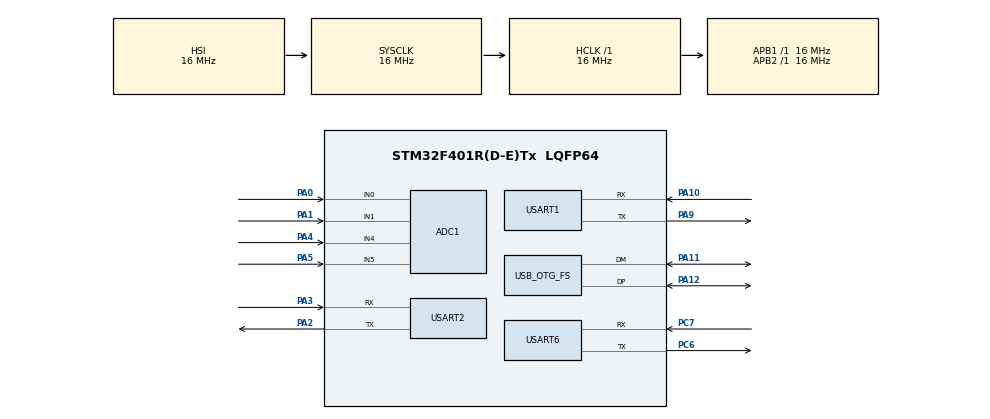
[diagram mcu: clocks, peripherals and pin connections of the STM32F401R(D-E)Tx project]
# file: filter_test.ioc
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ADC1.Channel-0\#ChannelRegularConversion=ADC_CHANNEL_0
ADC1.InjNumberOfConversion=0
ADC1.NbrOfConversionFlag=1
ADC1.Rank-0\#ChannelRegularConversion=1
ADC1.SamplingTime-0\#ChannelRegularConversion=ADC_SAMPLETIME_144CYCLES
ADC1.master=1
Dma.Request0=USART1_RX
Dma.Request1=USART2_RX
Dma.Request2=USART6_RX
Dma.USART1_RX.0.Direction=DMA_PERIPH_TO_MEMORY
Dma.USART1_RX.0.FIFOMode=DMA_FIFOMODE_DISABLE
Dma.USART1_RX.0.Instance=DMA2_Stream2
Dma.USART1_RX.0.MemDataAlignment=DMA_MDATAALIGN_BYTE
Dma.USART1_RX.0.MemInc=DMA_MINC_ENABLE
Dma.USART1_RX.0.Mode=DMA_CIRCULAR
Dma.USART1_RX.0.PeriphDataAlignment=DMA_PDATAALIGN_BYTE
Dma.USART1_RX.0.PeriphInc=DMA_PINC_DISABLE
Dma.USART1_RX.0.Priority=DMA_PRIORITY_LOW
Dma.USART2_RX.1.Direction=DMA_PERIPH_TO_MEMORY
Dma.USART2_RX.1.FIFOMode=DMA_FIFOMODE_DISABLE
Dma.USART2_RX.1.Instance=DMA1_Stream5
Dma.USART2_RX.1.MemDataAlignment=DMA_MDATAALIGN_BYTE
Dma.USART2_RX.1.MemInc=DMA_MINC_ENABLE
Dma.USART2_RX.1.Mode=DMA_CIRCULAR
Dma.USART2_RX.1.PeriphDataAlignment=DMA_PDATAALIGN_BYTE
Dma.USART2_RX.1.PeriphInc=DMA_PINC_DISABLE
Dma.USART2_RX.1.Priority=DMA_PRIORITY_LOW
Dma.USART6_RX.2.Direction=DMA_PERIPH_TO_MEMORY
Dma.USART6_RX.2.FIFOMode=DMA_FIFOMODE_DISABLE
Dma.USART6_RX.2.Instance=DMA2_Stream1
Dma.USART6_RX.2.MemDataAlignment=DMA_MDATAALIGN_BYTE
Dma.USART6_RX.2.MemInc=DMA_MINC_ENABLE
Dma.USART6_RX.2.Mode=DMA_CIRCULAR
Dma.USART6_RX.2.PeriphDataAlignment=DMA_PDATAALIGN_BYTE
Dma.USART6_RX.2.PeriphInc=DMA_PINC_DISABLE
Dma.USART6_RX.2.Priority=DMA_PRIORITY_LOW
Mcu.Family=STM32F4
Mcu.Name=STM32F401R(D-E)Tx
Mcu.Package=LQFP64
NVIC.ADC_IRQn=true\:0\:0\:false\:true\:true\:5\:true\:true\:true
NVIC.DMA1_Stream5_IRQn=true\:0\:0\:false\:false\:true\:false\:true\:true
NVIC.DMA2_Stream1_IRQn=true\:0\:0\:false\:false\:true\:false\:true\:true
NVIC.DMA2_Stream2_IRQn=true\:0\:0\:false\:true\:true\:6\:false\:true\:true
NVIC.OTG_FS_IRQn=true\:0\:0\:false\:true\:true\:7\:false\:true\:true
NVIC.PriorityGroup=NVIC_PRIORITYGROUP_4
NVIC.TIM1_BRK_TIM9_IRQn=true\:0\:0\:false\:true\:true\:1\:true\:true\:true
NVIC.USART1_IRQn=true\:0\:0\:false\:true\:true\:2\:true\:true\:true
NVIC.USART2_IRQn=true\:0\:0\:false\:true\:true\:3\:true\:true\:true
NVIC.USART6_IRQn=true\:0\:0\:false\:true\:true\:4\:true\:true\:true
PA0-WKUP.Signal=ADCx_IN0
PA1.Signal=ADCx_IN1
PA10.Mode=Asynchronous
PA10.Signal=USART1_RX
PA11.Mode=Device_Only
PA11.Signal=USB_OTG_FS_DM
PA12.Mode=Device_Only
PA12.Signal=USB_OTG_FS_DP
PA2.Mode=Asynchronous
PA2.Signal=USART2_TX
PA3.Mode=Asynchronous
PA3.Signal=USART2_RX
PA4.Signal=ADCx_IN4
PA5.Signal=ADCx_IN5
PA9.Mode=Asynchronous
PA9.Signal=USART1_TX
PC6.Mode=Asynchronous
PC6.Signal=USART6_TX
PC7.Mode=Asynchronous
PC7.Signal=USART6_RX
ProjectManager.HeapSize=0x200
ProjectManager.StackSize=0x400
ProjectManager.TargetToolchain=STM32CubeIDE
RCC.AHBFreq_Value=16000000
RCC.APB1Freq_Value=16000000
RCC.APB2Freq_Value=16000000
RCC.CortexFreq_Value=16000000
RCC.HSE_VALUE=25000000
RCC.HSI_VALUE=16000000
RCC.LSE_VALUE=32768
RCC.PLLSource=RCC_PLLSOURCE_HSI
RCC.SYSCLKFreq_VALUE=16000000
RCC.VCOOutputFreq_Value=192000000
SH.ADCx_IN0.0=ADC1_IN0,IN0
SH.ADCx_IN1.0=ADC1_IN1,IN1
SH.ADCx_IN4.0=ADC1_IN4,IN4
SH.ADCx_IN5.0=ADC1_IN5,IN5
TIM9.Period=100-1
TIM9.Prescaler=839
USART1.VirtualMode=VM_ASYNC
USART2.VirtualMode=VM_ASYNC
USART6.VirtualMode=VM_ASYNC
USB_DEVICE.CLASS_NAME_FS=CDC
USB_DEVICE.VirtualMode-CDC_FS=Cdc
USB_DEVICE.VirtualModeFS=Cdc_FS
USB_OTG_FS.VirtualMode=Device_Only
VP_TIM9_VS_ClockSourceINT.Mode=Internal
VP_USB_DEVICE_VS_USB_DEVICE_CDC_FS.Mode=CDC_FS
board=custom

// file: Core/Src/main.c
/* USER CODE BEGIN Header */
/**
  ******************************************************************************
  * @file           : main.c
  * @brief          : Main program body
  ******************************************************************************
  * @attention
  *
  * Copyright (c) 2024 STMicroelectronics.
  * All rights reserved.
  *
  * This software is licensed under terms that can be found in the LICENSE file
  * in the root directory of this software component.
  * If no LICENSE file comes with this software, it is provided AS-IS.
  *
  ******************************************************************************
  */
#include <stdio.h>
/* USER CODE END Header */
#include "main.h"
#include "usb_device.h"

/* USER CODE BEGIN Includes */
volatile uint8_t dma_receive_in_progress = 0;
/* USER CODE END Includes */

/* USER CODE BEGIN PD */
#define NUM_SENSORS 4
#define IMU_DATA_SIZE 55
#define PACKET_SIZE 200
/* USER CODE END PD */

ADC_HandleTypeDef hadc1;

TIM_HandleTypeDef htim9;

UART_HandleTypeDef huart1;
UART_HandleTypeDef huart2;
UART_HandleTypeDef huart6;
DMA_HandleTypeDef hdma_usart1_rx;
DMA_HandleTypeDef hdma_usart2_rx;
DMA_HandleTypeDef hdma_usart6_rx;

/* USER CODE BEGIN PV */
uint32_t sensorValues[NUM_SENSORS];
//uint8_t packetBuffer[PACKET_SIZE];
//nt16_t pressureSensors[4];

uint8_t  IMU1array[IMU_DATA_SIZE];
uint8_t  IMU2array[IMU_DATA_SIZE];
uint8_t  IMU3array[IMU_DATA_SIZE];

char alpha[8] ={0};
char beta[8] ={0};
char gamm[8] ={0};

double roll1, pitch1, yaw1;
double roll2, pitch2, yaw2;
double roll3, pitch3, yaw3;

double alpha_value = 0.2;
double prevSensorValues[4] = {0};

double roll1_prev = 0, pitch1_prev = 0, yaw1_prev = 0;
double roll2_prev = 0, pitch2_prev = 0, yaw2_prev = 0;
double roll3_prev = 0, pitch3_prev = 0, yaw3_prev = 0;

double accelX1 = 0, accelY1 = 0, accelZ1 = 0;
double accelX2 = 0, accelY2 = 0, accelZ2 = 0;
double accelX3 = 0, accelY3 = 0, accelZ3 = 0;

double prevAccelX1 = 0, prevAccelX2 = 0, prevAccelX3 = 0;
double prevAccelY1 = 0, prevAccelY2 = 0, prevAccelY3 = 0;
double prevAccelZ1 = 0, prevAccelZ2 = 0, prevAccelZ3 = 0;

double gyroX1 = 0, gyroY1 = 0, gyroZ1 = 0;
double gyroX2 = 0, gyroY2 = 0, gyroZ2 = 0;
double gyroX3 = 0, gyroY3 = 0, gyroZ3 = 0;

double prevGyroX1 = 0, prevGyroX2 = 0, prevGyroX3 = 0;
double prevGyroY1 = 0, prevGyroY2 = 0, prevGyroY3 = 0;
double prevGyroZ1 = 0, prevGyroZ2 = 0, prevGyroZ3 = 0;

int cnt10 = 0;
int cnt00 = 0, cnt11 = 0;
/* USER CODE END PV */

void SystemClock_Config(void);
static void MX_GPIO_Init(void);
static void MX_DMA_Init(void);
static void MX_ADC1_Init(void);
static void MX_USART1_UART_Init(void);
static void MX_USART2_UART_Init(void);
static void MX_USART6_UART_Init(void);
static void MX_TIM9_Init(void);
static void MX_NVIC_Init(void);
/* USER CODE BEGIN PFP */
void Read_Pressure_Data(void);
void Read_All_IMU_Data(void);
void Get_IMU_Data(UART_HandleTypeDef* huart, char* IMUarray);
double ApplyLowPassFilter(double currentValue, double *prevValue);
void parse_IMU_data(UART_HandleTypeDef* huart, uint8_t* IMUarray, double* roll, double* pitch, double* yaw, double* accelX, double* accelY, double* accelZ, double* gyroX, double* gyroY, double* gyroZ);
/* USER CODE END PFP */

/* USER CODE BEGIN 0 */
void HAL_TIM_PeriodElapsedCallback(TIM_HandleTypeDef *htim){
	if(htim == &htim9){

		Read_Pressure_Data();

        // DMA 수신이 진행 중인 경우 새로운 요청을 시작하지 않음
       // if (dma_receive_in_progress == 0) {
            unsigned char star = '*';
            HAL_UART_Transmit(&huart1, &star, 1, 10); // IMU에 데이터 요청
            // DMA 수신 시작 및 상태 플래그 설정
            if (HAL_UART_Receive_DMA(&huart1, IMU1array, IMU_DATA_SIZE) == HAL_OK) {
                //dma_receive_in_progress = 1;

            } else {
                Error_Handler();
            }
            cnt00++;
       // }
		//SendPacket();
	}
}

void HAL_UART_RxCpltCallback(UART_HandleTypeDef *huart) {

	 if (huart->Instance == USART1) {
		 	 cnt11++;
		 	dma_receive_in_progress = 0;
			parse_IMU_data(&huart1, IMU1array, &roll1, &pitch1, &yaw1, &accelX1, &accelY1, &accelZ1, &gyroX1, &gyroY1, &gyroZ1);

			roll1 = ApplyLowPassFilter(roll1, &roll1_prev);
			pitch1 = ApplyLowPassFilter(pitch1, &pitch1_prev);
			yaw1 = ApplyLowPassFilter(yaw1, &yaw1_prev);

			accelX1 = ApplyLowPassFilter(accelX1, &prevAccelX1);
			accelY1 = ApplyLowPassFilter(accelY1, &prevAccelY1);
			accelZ1 = ApplyLowPassFilter(accelZ1, &prevAccelZ1);

			gyroX1 = ApplyLowPassFilter(gyroX1, &prevGyroX1);
			gyroY1 = ApplyLowPassFilter(gyroY1, &prevGyroY1);
			gyroZ1 = ApplyLowPassFilter(gyroZ1, &prevGyroZ1);

    }
    /*else if (huart->Instance == USART2) {
        // IMU2 데이터 수신 및 파싱
        Get_IMU_Data(&huart2, IMU2array, &roll2, &pitch2, &yaw2, &accelX2, &accelY2, &accelZ2, &gyroX2, &gyroY2, &gyroZ2);
        HAL_UART_Receive_DMA(&huart2, (uint8_t*)IMU2array, IMU_DATA_SIZE); // DMA 수신 재시작
    }
    else if (huart->Instance == USART6) {
        // IMU3 데이터 수신 및 파싱
        Get_IMU_Data(&huart6, IMU3array, &roll3, &pitch3, &yaw3, &accelX3, &accelY3, &accelZ3, &gyroX3, &gyroY3, &gyroZ3);
        HAL_UART_Receive_DMA(&huart6, (uint8_t*)IMU3array, IMU_DATA_SIZE); // DMA 수신 재시작
    }*/

}

/*void HAL_UART_RxCpltCallback(UART_HandleTypeDef *huart) {
    if (huart->Instance == USART1) {
        // 수신 완료 시 데이터 파싱
        Parse_IMU_Data(IMU1array, &roll1, &pitch1, &yaw1, &accelX1, &accelY1, &accelZ1, &gyroX1, &gyroY1, &gyroZ1);
        HAL_UART_Receive_DMA(&huart1, (uint8_t*)IMU1array, IMU_DATA_SIZE); // 재시작
    }
}
*/

/* USER CODE END 0 */

int main(void)
{

  /* MCU Configuration--------------------------------------------------------*/

  /* Reset of all peripherals, Initializes the Flash interface and the Systick. */
  HAL_Init();

  /* Configure the system clock */
  SystemClock_Config();

  /* Initialize all configured peripherals */
  MX_GPIO_Init();
  MX_DMA_Init();
  MX_ADC1_Init();
  MX_USART1_UART_Init();
  MX_USART2_UART_Init();
  MX_USART6_UART_Init();
  MX_USB_DEVICE_Init();
  MX_TIM9_Init();

  /* Initialize interrupts */
  MX_NVIC_Init();
  /* USER CODE BEGIN 2 */
  HAL_TIM_Base_Start_IT(&htim9);
  HAL_UART_Receive_DMA(&huart1, (uint8_t*)IMU1array, IMU_DATA_SIZE);
  HAL_UART_Receive_DMA(&huart2, (uint8_t*)IMU2array, IMU_DATA_SIZE);
  HAL_UART_Receive_DMA(&huart6, (uint8_t*)IMU3array, IMU_DATA_SIZE);

  /* USER CODE END 2 */

  /* Infinite loop */
  while (1)
  {

  }
}

void SystemClock_Config(void)
{
  RCC_OscInitTypeDef RCC_OscInitStruct = {0};
  RCC_ClkInitTypeDef RCC_ClkInitStruct = {0};

  /** Configure the main internal regulator output voltage
  */
  __HAL_RCC_PWR_CLK_ENABLE();
  __HAL_PWR_VOLTAGESCALING_CONFIG(PWR_REGULATOR_VOLTAGE_SCALE2);

  /** Initializes the RCC Oscillators according to the specified parameters
  * in the RCC_OscInitTypeDef structure.
  */
  RCC_OscInitStruct.OscillatorType = RCC_OSCILLATORTYPE_HSI;
  RCC_OscInitStruct.HSIState = RCC_HSI_ON;
  RCC_OscInitStruct.HSICalibrationValue = RCC_HSICALIBRATION_DEFAULT;
  RCC_OscInitStruct.PLL.PLLState = RCC_PLL_ON;
  RCC_OscInitStruct.PLL.PLLSource = RCC_PLLSOURCE_HSI;
  RCC_OscInitStruct.PLL.PLLM = 16;
  RCC_OscInitStruct.PLL.PLLN = 192;
  RCC_OscInitStruct.PLL.PLLP = RCC_PLLP_DIV2;
  RCC_OscInitStruct.PLL.PLLQ = 4;
  if (HAL_RCC_OscConfig(&RCC_OscInitStruct) != HAL_OK)
  {
    Error_Handler();
  }

  /** Initializes the CPU, AHB and APB buses clocks
  */
  RCC_ClkInitStruct.ClockType = RCC_CLOCKTYPE_HCLK|RCC_CLOCKTYPE_SYSCLK
                              |RCC_CLOCKTYPE_PCLK1|RCC_CLOCKTYPE_PCLK2;
  RCC_ClkInitStruct.SYSCLKSource = RCC_SYSCLKSOURCE_HSI;
  RCC_ClkInitStruct.AHBCLKDivider = RCC_SYSCLK_DIV1;
  RCC_ClkInitStruct.APB1CLKDivider = RCC_HCLK_DIV1;
  RCC_ClkInitStruct.APB2CLKDivider = RCC_HCLK_DIV1;

  if (HAL_RCC_ClockConfig(&RCC_ClkInitStruct, FLASH_LATENCY_0) != HAL_OK)
  {
    Error_Handler();
  }
}

/**
  * @brief NVIC Configuration.
  * @retval None
  */
static void MX_NVIC_Init(void)
{
  /* TIM1_BRK_TIM9_IRQn interrupt configuration */
  HAL_NVIC_SetPriority(TIM1_BRK_TIM9_IRQn, 0, 0);
  HAL_NVIC_EnableIRQ(TIM1_BRK_TIM9_IRQn);
  /* USART1_IRQn interrupt configuration */
  HAL_NVIC_SetPriority(USART1_IRQn, 0, 0);
  HAL_NVIC_EnableIRQ(USART1_IRQn);
  /* USART2_IRQn interrupt configuration */
  HAL_NVIC_SetPriority(USART2_IRQn, 0, 0);
  HAL_NVIC_EnableIRQ(USART2_IRQn);
  /* USART6_IRQn interrupt configuration */
  HAL_NVIC_SetPriority(USART6_IRQn, 0, 0);
  HAL_NVIC_EnableIRQ(USART6_IRQn);
  /* ADC_IRQn interrupt configuration */
  HAL_NVIC_SetPriority(ADC_IRQn, 0, 0);
  HAL_NVIC_EnableIRQ(ADC_IRQn);
  /* DMA2_Stream2_IRQn interrupt configuration */
  HAL_NVIC_SetPriority(DMA2_Stream2_IRQn, 0, 0);
  HAL_NVIC_EnableIRQ(DMA2_Stream2_IRQn);
  /* OTG_FS_IRQn interrupt configuration */
  HAL_NVIC_SetPriority(OTG_FS_IRQn, 0, 0);
  HAL_NVIC_EnableIRQ(OTG_FS_IRQn);
}

static void MX_ADC1_Init(void)
{

  ADC_ChannelConfTypeDef sConfig = {0};

  /** Configure the global features of the ADC (Clock, Resolution, Data Alignment and number of conversion)
  */
  hadc1.Instance = ADC1;
  hadc1.Init.ClockPrescaler = ADC_CLOCK_SYNC_PCLK_DIV2;
  hadc1.Init.Resolution = ADC_RESOLUTION_12B;
  hadc1.Init.ScanConvMode = DISABLE;
  hadc1.Init.ContinuousConvMode = DISABLE;
  hadc1.Init.DiscontinuousConvMode = DISABLE;
  hadc1.Init.ExternalTrigConvEdge = ADC_EXTERNALTRIGCONVEDGE_NONE;
  hadc1.Init.ExternalTrigConv = ADC_SOFTWARE_START;
  hadc1.Init.DataAlign = ADC_DATAALIGN_RIGHT;
  hadc1.Init.NbrOfConversion = 1;
  hadc1.Init.DMAContinuousRequests = DISABLE;
  hadc1.Init.EOCSelection = ADC_EOC_SINGLE_CONV;
  if (HAL_ADC_Init(&hadc1) != HAL_OK)
  {
    Error_Handler();
  }

  /** Configure for the selected ADC regular channel its corresponding rank in the sequencer and its sample time.
  */
  sConfig.Channel = ADC_CHANNEL_0;
  sConfig.Rank = 1;
  sConfig.SamplingTime = ADC_SAMPLETIME_144CYCLES;
  if (HAL_ADC_ConfigChannel(&hadc1, &sConfig) != HAL_OK)
  {
    Error_Handler();
  }
  /* USER CODE BEGIN ADC1_Init 2 */
  for(int i=0;i < NUM_SENSORS; i++){
	  sConfig.Channel = ADC_CHANNEL_0 + i;
	  sConfig.Rank = i + 1;
	  sConfig.SamplingTime = ADC_SAMPLETIME_15CYCLES;
	  HAL_ADC_ConfigChannel(&hadc1, &sConfig);
  }
  /* USER CODE END ADC1_Init 2 */

}

static void MX_TIM9_Init(void)
{

  TIM_ClockConfigTypeDef sClockSourceConfig = {0};

  htim9.Instance = TIM9;
  htim9.Init.Prescaler = 8399;
  htim9.Init.CounterMode = TIM_COUNTERMODE_UP;
  htim9.Init.Period = 5000-1;
  htim9.Init.ClockDivision = TIM_CLOCKDIVISION_DIV1;
  htim9.Init.AutoReloadPreload = TIM_AUTORELOAD_PRELOAD_DISABLE;
  if (HAL_TIM_Base_Init(&htim9) != HAL_OK)
  {
    Error_Handler();
  }
  sClockSourceConfig.ClockSource = TIM_CLOCKSOURCE_INTERNAL;
  if (HAL_TIM_ConfigClockSource(&htim9, &sClockSourceConfig) != HAL_OK)
  {
    Error_Handler();
  }

}

static void MX_USART1_UART_Init(void)
{

  huart1.Instance = USART1;
  huart1.Init.BaudRate = 115200;
  huart1.Init.WordLength = UART_WORDLENGTH_8B;
  huart1.Init.StopBits = UART_STOPBITS_1;
  huart1.Init.Parity = UART_PARITY_NONE;
  huart1.Init.Mode = UART_MODE_TX_RX;
  huart1.Init.HwFlowCtl = UART_HWCONTROL_NONE;
  huart1.Init.OverSampling = UART_OVERSAMPLING_16;
  if (HAL_UART_Init(&huart1) != HAL_OK)
  {
    Error_Handler();
  }

}

static void MX_USART2_UART_Init(void)
{

  huart2.Instance = USART2;
  huart2.Init.BaudRate = 115200;
  huart2.Init.WordLength = UART_WORDLENGTH_8B;
  huart2.Init.StopBits = UART_STOPBITS_1;
  huart2.Init.Parity = UART_PARITY_NONE;
  huart2.Init.Mode = UART_MODE_TX_RX;
  huart2.Init.HwFlowCtl = UART_HWCONTROL_NONE;
  huart2.Init.OverSampling = UART_OVERSAMPLING_16;
  if (HAL_UART_Init(&huart2) != HAL_OK)
  {
    Error_Handler();
  }

}

static void MX_USART6_UART_Init(void)
{

  huart6.Instance = USART6;
  huart6.Init.BaudRate = 115200;
  huart6.Init.WordLength = UART_WORDLENGTH_8B;
  huart6.Init.StopBits = UART_STOPBITS_1;
  huart6.Init.Parity = UART_PARITY_NONE;
  huart6.Init.Mode = UART_MODE_TX_RX;
  huart6.Init.HwFlowCtl = UART_HWCONTROL_NONE;
  huart6.Init.OverSampling = UART_OVERSAMPLING_16;
  if (HAL_UART_Init(&huart6) != HAL_OK)
  {
    Error_Handler();
  }

}

static void MX_DMA_Init(void)
{

  /* DMA controller clock enable */
  __HAL_RCC_DMA2_CLK_ENABLE();
  __HAL_RCC_DMA1_CLK_ENABLE();

  /* DMA interrupt init */
  /* DMA1_Stream5_IRQn interrupt configuration */
  HAL_NVIC_SetPriority(DMA1_Stream5_IRQn, 0, 0);
  HAL_NVIC_EnableIRQ(DMA1_Stream5_IRQn);
  /* DMA2_Stream1_IRQn interrupt configuration */
  HAL_NVIC_SetPriority(DMA2_Stream1_IRQn, 0, 0);
  HAL_NVIC_EnableIRQ(DMA2_Stream1_IRQn);

}

static void MX_GPIO_Init(void)
{

  /* GPIO Ports Clock Enable */
  __HAL_RCC_GPIOA_CLK_ENABLE();
  __HAL_RCC_GPIOC_CLK_ENABLE();

}

/* USER CODE BEGIN 4 */
void Read_Pressure_Data(void) {
    ADC_ChannelConfTypeDef sConfig = {0};

    for (int i = 0; i < NUM_SENSORS; i++) {
        // ADC 채널을 각 센서 핀에 맞게 설정 (IN0, IN1, IN4, IN5)
        switch(i) {
            case 0: sConfig.Channel = ADC_CHANNEL_0; break; // IN0
            case 1: sConfig.Channel = ADC_CHANNEL_1; break; // IN1
            case 2: sConfig.Channel = ADC_CHANNEL_4; break; // IN4
            case 3: sConfig.Channel = ADC_CHANNEL_5; break; // IN5
        }

        sConfig.Rank = 1;
        sConfig.SamplingTime = ADC_SAMPLETIME_15CYCLES;
        if (HAL_ADC_ConfigChannel(&hadc1, &sConfig) != HAL_OK) {
            Error_Handler();
        }

        if (HAL_ADC_Start(&hadc1) == HAL_OK) {
            if (HAL_ADC_PollForConversion(&hadc1, HAL_MAX_DELAY) == HAL_OK) {
            	double rawValue = HAL_ADC_GetValue(&hadc1);
            	sensorValues[i] = ApplyLowPassFilter(rawValue, &prevSensorValues[i]);
            } else if (i == 0){
            	sensorValues[0] -= 2000;
            } else {
                Error_Handler();
            }
            HAL_ADC_Stop(&hadc1);
        } else {
            Error_Handler();
        }
    }
}

void parse_IMU_data(UART_HandleTypeDef* huart, uint8_t* IMUarray, double* roll, double* pitch, double* yaw, double* accelX, double* accelY, double* accelZ, double* gyroX, double* gyroY, double* gyroZ){
    int cnt0 = 0, cnt1 = 0, cnt2 = 0, cnt3 = 0, cnt4 = 0, cnt5 = 0, cnt6 = 0;
    char* pos;

	 for (int i = 1; i < IMU_DATA_SIZE; i++) {
			if (IMUarray[i] == ',') {
				if (cnt0 == 0) cnt1 = i + 1;
				else if (cnt0 == 1) cnt2 = i + 1;
				else if (cnt0 == 2) cnt3 = i + 1;
				else if (cnt0 == 3) cnt4 = i + 1;
				else if (cnt0 == 4) cnt5 = i + 1;
				cnt0++;
			} else {
				switch (cnt0) {
					case 0: alpha[i - 1] = IMUarray[i]; break;  // Roll
					case 1: beta[i - cnt1] = IMUarray[i]; break;  // Pitch
					case 2: gamm[i - cnt2] = IMUarray[i]; break;  // Yaw
					case 3: accelX[i - cnt3] = IMUarray[i]; break;  // Accel X
					case 4: accelY[i - cnt4] = IMUarray[i]; break;  // Accel Y
					case 5: accelZ[i - cnt5] = IMUarray[i]; break;  // Accel Z
					case 6: gyroX[i - cnt6] = IMUarray[i]; break;  // Gyro X
				}
			}
			if (IMUarray[i] == '\r') {
				cnt6 = i + 1;
				break;
			}
		}
	    // 문자열이 짧은 경우 0으로 채움
	       for (int j = cnt1 - 2; j < 7; j++) alpha[j] = '0';
	       for (int k = cnt2 - (cnt1); k < 8; k++) beta[k - 1] = '0';
	       for (int l = cnt3 - (cnt2); l < 8; l++) gamm[l - 1] = '0';
	       for (int m = cnt4 - (cnt3); m < 8; m++) accelX[m - 1] = '0';
	       for (int n = cnt5 - (cnt4); n < 8; n++) accelY[n - 1] = '0';
	       for (int o = cnt6 - (cnt5); o < 8; o++) accelZ[o - 1] = '0';

	       // 문자열을 double로 변환
	       *roll = strtod(alpha, &pos);
	       *pitch = strtod(beta, &pos);
	       *yaw = strtod(gamm, &pos);
	       *accelX = strtod(accelX, &pos);
	       *accelY = strtod(accelY, &pos);
	       *accelZ = strtod(accelZ, &pos);
	       *gyroX = strtod(gyroX, &pos);
	       *gyroY = strtod(gyroY, &pos);
	       *gyroZ = strtod(gyroZ, &pos);
}

double ApplyLowPassFilter(double currentValue, double *prevValue){
	*prevValue = alpha_value * currentValue + (1.0 - alpha_value) * (*prevValue);
	return *prevValue;
}

// 패킷 빌드 함수
/*void BuildPacket(void) {
    memset(packetBuffer, 0, PACKET_SIZE);

    // 패킷 시작 신호 (예: 0xA0, 0xA1로 시작)
    packetBuffer[0] = 0xA0;
    packetBuffer[1] = 0xA1;

    // 압력 센서 데이터 추가 (8바이트: 각 센서당 2바이트)
    for (int i = 0; i < 4; i++) {
        packetBuffer[2 + i * 2] = (sensorValues[i] >> 8) & 0xFF;
        packetBuffer[3 + i * 2] = sensorValues[i] & 0xFF;
    }

    // IMU 1 가속도 데이터 추가 (6바이트: 각 축당 2바이트)
    packetBuffer[10] = (int16_t)(accelX1 * 100) >> 8 & 0xFF;
    packetBuffer[11] = (int16_t)(accelX1 * 100) & 0xFF;
    packetBuffer[12] = (int16_t)(accelY1 * 100) >> 8 & 0xFF;
    packetBuffer[13] = (int16_t)(accelY1 * 100) & 0xFF;
    packetBuffer[14] = (int16_t)(accelZ1 * 100) >> 8 & 0xFF;
    packetBuffer[15] = (int16_t)(accelZ1 * 100) & 0xFF;

    // IMU 1 각속도 데이터 추가 (6바이트: 각 축당 2바이트)
    packetBuffer[16] = (int16_t)(gyroX1 * 100) >> 8 & 0xFF;
    packetBuffer[17] = (int16_t)(gyroX1 * 100) & 0xFF;
    packetBuffer[18] = (int16_t)(gyroY1 * 100) >> 8 & 0xFF;
    packetBuffer[19] = (int16_t)(gyroY1 * 100) & 0xFF;
    packetBuffer[20] = (int16_t)(gyroZ1 * 100) >> 8 & 0xFF;
    packetBuffer[21] = (int16_t)(gyroZ1 * 100) & 0xFF;

    // IMU 1 각도 데이터 추가 (6바이트: roll, pitch, yaw 각도당 2바이트)
    packetBuffer[22] = (int16_t)(roll1 * 100) >> 8 & 0xFF;
    packetBuffer[23] = (int16_t)(roll1 * 100) & 0xFF;
    packetBuffer[24] = (int16_t)(pitch1 * 100) >> 8 & 0xFF;
    packetBuffer[25] = (int16_t)(pitch1 * 100) & 0xFF;
    packetBuffer[26] = (int16_t)(yaw1 * 100) >> 8 & 0xFF;
    packetBuffer[27] = (int16_t)(yaw1 * 100) & 0xFF;

    // IMU 2 가속도 데이터 추가 (6바이트)
    packetBuffer[28] = (int16_t)(accelX2 * 100) >> 8 & 0xFF;
    packetBuffer[29] = (int16_t)(accelX2 * 100) & 0xFF;
    packetBuffer[30] = (int16_t)(accelY2 * 100) >> 8 & 0xFF;
    packetBuffer[31] = (int16_t)(accelY2 * 100) & 0xFF;
    packetBuffer[32] = (int16_t)(accelZ2 * 100) >> 8 & 0xFF;
    packetBuffer[33] = (int16_t)(accelZ2 * 100) & 0xFF;

    // IMU 2 각속도 데이터 추가 (6바이트)
    packetBuffer[34] = (int16_t)(gyroX2 * 100) >> 8 & 0xFF;
    packetBuffer[35] = (int16_t)(gyroX2 * 100) & 0xFF;
    packetBuffer[36] = (int16_t)(gyroY2 * 100) >> 8 & 0xFF;
    packetBuffer[37] = (int16_t)(gyroY2 * 100) & 0xFF;
    packetBuffer[38] = (int16_t)(gyroZ2 * 100) >> 8 & 0xFF;
    packetBuffer[39] = (int16_t)(gyroZ2 * 100) & 0xFF;

    // IMU 2 각도 데이터 추가 (6바이트)
    packetBuffer[40] = (int16_t)(roll2 * 100) >> 8 & 0xFF;
    packetBuffer[41] = (int16_t)(roll2 * 100) & 0xFF;
    packetBuffer[42] = (int16_t)(pitch2 * 100) >> 8 & 0xFF;
    packetBuffer[43] = (int16_t)(pitch2 * 100) & 0xFF;
    packetBuffer[44] = (int16_t)(yaw2 * 100) >> 8 & 0xFF;
    packetBuffer[45] = (int16_t)(yaw2 * 100) & 0xFF;

    // IMU 3 가속도 데이터 추가 (6바이트)
    packetBuffer[46] = (int16_t)(accelX3 * 100) >> 8 & 0xFF;
    packetBuffer[47] = (int16_t)(accelX3 * 100) & 0xFF;
    packetBuffer[48] = (int16_t)(accelY3 * 100) >> 8 & 0xFF;
    packetBuffer[49] = (int16_t)(accelY3 * 100) & 0xFF;
    packetBuffer[50] = (int16_t)(accelZ3 * 100) >> 8 & 0xFF;
    packetBuffer[51] = (int16_t)(accelZ3 * 100) & 0xFF;

    // IMU 3 각속도 데이터 추가 (6바이트)
    packetBuffer[52] = (int16_t)(gyroX3 * 100) >> 8 & 0xFF;
    packetBuffer[53] = (int16_t)(gyroX3 * 100) & 0xFF;
    packetBuffer[54] = (int16_t)(gyroY3 * 100) >> 8 & 0xFF;
    packetBuffer[55] = (int16_t)(gyroY3 * 100) & 0xFF;
    packetBuffer[56] = (int16_t)(gyroZ3 * 100) >> 8 & 0xFF;
    packetBuffer[57] = (int16_t)(gyroZ3 * 100) & 0xFF;

    // IMU 3 각도 데이터 추가 (6바이트)
    packetBuffer[58] = (int16_t)(roll3 * 100) >> 8 & 0xFF;
    packetBuffer[59] = (int16_t)(roll3 * 100) & 0xFF;
    packetBuffer[60] = (int16_t)(pitch3 * 100) >> 8 & 0xFF;
    packetBuffer[61] = (int16_t)(pitch3 * 100) & 0xFF;
    packetBuffer[62] = (int16_t)(yaw3 * 100) >> 8 & 0xFF;
    packetBuffer[63] = (int16_t)(yaw3 * 100) & 0xFF;

    // 패킷 종료 신호 (예: 0xB0, 0xB1로 끝)
    packetBuffer[64] = 0xB0;
    packetBuffer[65] = 0xB1;
}

void SendPacket(void){
    char packet[PACKET_SIZE];  // 패킷 크기를 적절히 정의합니다.
    int packetIndex = 0;

    // Step 1: 압력 센서 값을 패킷에 추가
    for (int i = 0; i < NUM_SENSORS; i++) {
        memcpy(&packet[packetIndex], &sensorValues[i], sizeof(sensorValues[i]));
        packetIndex += sizeof(sensorValues[i]);
    }

    memcpy(&packet[packetIndex], &roll1, sizeof(roll1));
	packetIndex += sizeof(roll1);
	memcpy(&packet[packetIndex], &pitch1, sizeof(pitch1));
	packetIndex += sizeof(pitch1);
	memcpy(&packet[packetIndex], &yaw1, sizeof(yaw1));
	packetIndex += sizeof(yaw1);
	memcpy(&packet[packetIndex], &accelX1, sizeof(accelX1));
	packetIndex += sizeof(accelX1);
	memcpy(&packet[packetIndex], &accelY1, sizeof(accelY1));
	packetIndex += sizeof(accelY1);
	memcpy(&packet[packetIndex], &accelZ1, sizeof(accelZ1));
	packetIndex += sizeof(accelZ1);
	memcpy(&packet[packetIndex], &gyroX1, sizeof(gyroX1));
	packetIndex += sizeof(gyroX1);
	memcpy(&packet[packetIndex], &gyroY1, sizeof(gyroY1));
	packetIndex += sizeof(gyroY1);
	memcpy(&packet[packetIndex], &gyroZ1, sizeof(gyroZ1));
	packetIndex += sizeof(gyroZ1);

    memcpy(&packet[packetIndex], &roll2, sizeof(roll2));
	packetIndex += sizeof(roll2);
	memcpy(&packet[packetIndex], &pitch2, sizeof(pitch2));
	packetIndex += sizeof(pitch2);
	memcpy(&packet[packetIndex], &yaw2, sizeof(yaw2));
	packetIndex += sizeof(yaw2);
	memcpy(&packet[packetIndex], &accelX2, sizeof(accelX2));
	packetIndex += sizeof(accelX2);
	memcpy(&packet[packetIndex], &accelY2, sizeof(accelY2));
	packetIndex += sizeof(accelY2);
	memcpy(&packet[packetIndex], &accelZ2, sizeof(accelZ2));
	packetIndex += sizeof(accelZ2);
	memcpy(&packet[packetIndex], &gyroX2, sizeof(gyroX2));
	packetIndex += sizeof(gyroX2);
	memcpy(&packet[packetIndex], &gyroY2, sizeof(gyroY2));
	packetIndex += sizeof(gyroY2);
	memcpy(&packet[packetIndex], &gyroZ2, sizeof(gyroZ2));
	packetIndex += sizeof(gyroZ2);

    memcpy(&packet[packetIndex], &roll3, sizeof(roll3));
	packetIndex += sizeof(roll3);
	memcpy(&packet[packetIndex], &pitch3, sizeof(pitch3));
	packetIndex += sizeof(pitch3);
	memcpy(&packet[packetIndex], &yaw3, sizeof(yaw3));
	packetIndex += sizeof(yaw3);
	memcpy(&packet[packetIndex], &accelX3, sizeof(accelX3));
	packetIndex += sizeof(accelX3);
	memcpy(&packet[packetIndex], &accelY3, sizeof(accelY3));https://www.ti.com/tool/TMDSEMU200-U#order-start-development
	packetIndex += sizeof(accelY3);
	memcpy(&packet[packetIndex], &accelZ3, sizeof(accelZ3));
	packetIndex += sizeof(accelZ3);
	memcpy(&packet[packetIndex], &gyroX3, sizeof(gyroX3));
	packetIndex += sizeof(gyroX3);
	memcpy(&packet[packetIndex], &gyroY3, sizeof(gyroY3));
	packetIndex += sizeof(gyroY3);
	memcpy(&packet[packetIndex], &gyroZ3, sizeof(gyroZ3));
	packetIndex += sizeof(gyroZ3);

    // Step 3: 패킷을 UART를 통해 전송
	CDC_Transmit_HS((uint8_t*)packet, packetIndex);
}
*/
/* USER CODE END 4 */

void Error_Handler(void)
{
  __disable_irq();
  while (1)
  {
  }
}
